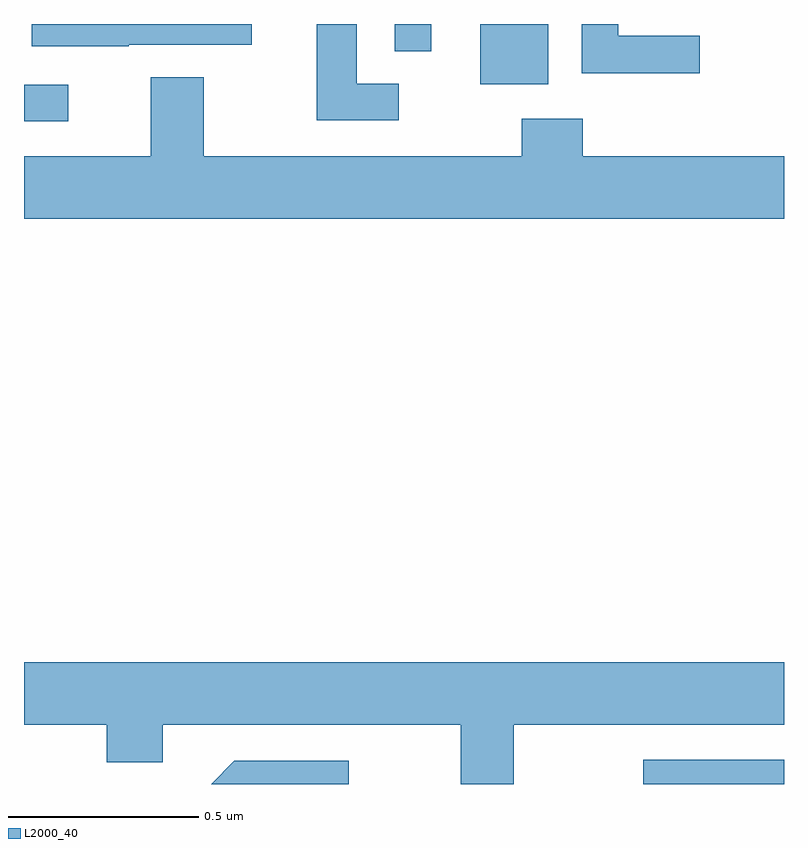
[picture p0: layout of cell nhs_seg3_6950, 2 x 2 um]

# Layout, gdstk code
import gdstk
lib = gdstk.Library(unit=1e-6, precision=1e-09)
def R(c, l, rs):  # rectangles x0, y0, x1, y1
    for r in rs: c.add(gdstk.rectangle(r[:2], r[2:], *l))
def P(c, l, *ps):  # polygons
    for p in ps: c.add(gdstk.Polygon(p, *l))
L2000_40 = (2000, 40)

nhs_seg3_6950 = lib.new_cell('nhs_seg3_6950')
R(nhs_seg3_6950, L2000_40, [(198.63,727.4,199,727.464), (197,729.144,197.116,729.24), (198.2,729.242,198.379,729.4), (197.976,729.328,198.072,729.4)])
P(nhs_seg3_6950, L2000_40, [(198.778,729.369),(198.564,729.369),(198.564,729.4),(198.468,729.4),(198.468,729.271),(198.778,729.271)],
  [(197.275,729.345),(197.599,729.345),(197.599,729.4),(197.021,729.4),(197.021,729.341),(197.275,729.341)],
  [(197.986,729.243),(197.875,729.243),(197.875,729.4),(197.771,729.4),(197.771,729.147),(197.986,729.147)],
  [(199,729.052),(198.47,729.052),(198.47,729.151),(198.31,729.151),(198.31,729.052),(197.473,729.052),(197.473,729.26),(197.333,729.26),(197.333,729.052),(197,729.052),(197,728.888),(199,728.888)],
  [(198.289,727.556),(199,727.556),(199,727.72),(197,727.72),(197,727.556),(197.218,727.556),(197.218,727.457),(197.365,727.457),(197.365,727.556),(198.149,727.556),(198.149,727.4),(198.289,727.4)],
  [(197.854,727.461),(197.553,727.461),(197.493,727.4),(197.854,727.4)])

lib.write_gds('nhs_seg3_6950.gds')
